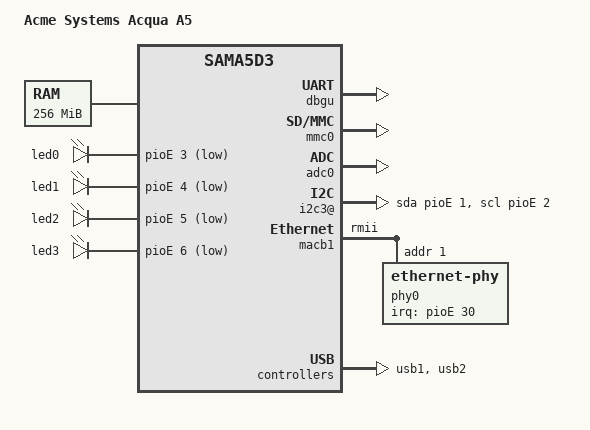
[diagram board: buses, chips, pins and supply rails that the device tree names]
/*
 * acme-bancoacqua.dts
 * Device Tree file per Acqua A5 per il banco di test
 * che include il minimo di file esterni
 *
 * https://git.kernel.org/cgit/linux/kernel/git/stable/linux-stable.git/tree/Documentation/devicetree/bindings/pinctrl/atmel,at91-pinctrl.txt?id=refs/tags/v4.4.3
 */
 
/dts-v1/;
#include "sama5d3.dtsi"
#include "sama5d3_emac.dtsi"

/ {
	model = "Acme Systems Acqua A5";
	compatible = "atmel,sama5d31ek", "atmel,sama5d31", "atmel,sama5d3", "atmel,sama5";

	chosen {
		stdout-path = "serial0:115200n8";
	};

	memory {
		reg = <0x20000000 0x10000000>;
	};

	clocks {
		slow_xtal {
			clock-frequency = <32768>;
		};

		main_xtal {
			clock-frequency = <12000000>;
		};
	};
 
	ahb {
		apb {
			pinctrl@fffff200 {
				board {
					pinctrl_mmc0_cd: mmc0_cd {
						atmel,pins =
							<AT91_PIOD 17 AT91_PERIPH_GPIO AT91_PINCTRL_PULL_UP_DEGLITCH>; /* PD17 GPIO with pullup deglitch */
					};
				};
			};

			dbgu: serial@ffffee00 {
				dmas = <0>, <0>;	/*  Do not use DMA for dbgu */
				status = "okay";
			};

			mmc0: mmc@f0000000 {
				pinctrl-0 = <&pinctrl_mmc0_clk_cmd_dat0 &pinctrl_mmc0_dat1_3 &pinctrl_mmc0_dat4_7 &pinctrl_mmc0_cd>;
				status = "okay";
				slot@0 {
					reg = <0>;
					bus-width = <8>;
					cd-gpios = <&pioE 0 GPIO_ACTIVE_LOW>;
				};
			};

			adc0: adc@f8018000 {
				pinctrl-names = "default";
				pinctrl-0 = <
					&pinctrl_adc0_ad10
					&pinctrl_adc0_ad11
					>;
				status = "okay";
			};
			
			i2c3@ {
				compatible = "i2c-gpio";
				gpios = <&pioE 1 0 /* SDA */
						 &pioE 2 0 /* SCK */
						>;

				/*i2c-gpio,sda-open-drain;*/
				/*i2c-gpio,scl-open-drain;*/
				i2c-gpio,delay-us = <4>;	/* ~178 kHz */
				#address-cells = <1>;
				#size-cells = <0>;
			};

			macb1: ethernet@f802c000 {
				status = "okay";
				phy-mode = "rmii";

				#address-cells = <1>;
				#size-cells = <0>;
				phy0: ethernet-phy@1 {
					interrupt-parent = <&pioE>;
					interrupts = <30 IRQ_TYPE_EDGE_FALLING>;
					reg = <1>;
				};
			};
		
		};

		usb0: gadget@00500000 {
			status = "disabled";
		};

		usb1: ohci@00600000 {
			status = "okay";
		};

		usb2: ehci@00700000 {
			status = "okay";
		};

	};

	leds {
		compatible = "gpio-leds";

		led0 {
			label = "led0";
			gpios = <&pioE 3 GPIO_ACTIVE_LOW>;
			default-state = "off";
		};

		led1 {
			label = "led1";
			gpios = <&pioE 4 GPIO_ACTIVE_LOW>;
			default-state = "off";
		};

		led2 {
			label = "led2";
			gpios = <&pioE 5 GPIO_ACTIVE_LOW>;
			linux,default-trigger = "heartbeat";
		};

		led3 {
			label = "led3";
			gpios = <&pioE 6 GPIO_ACTIVE_LOW>;
			linux,default-trigger = "mmc0";
		};

	};
};
